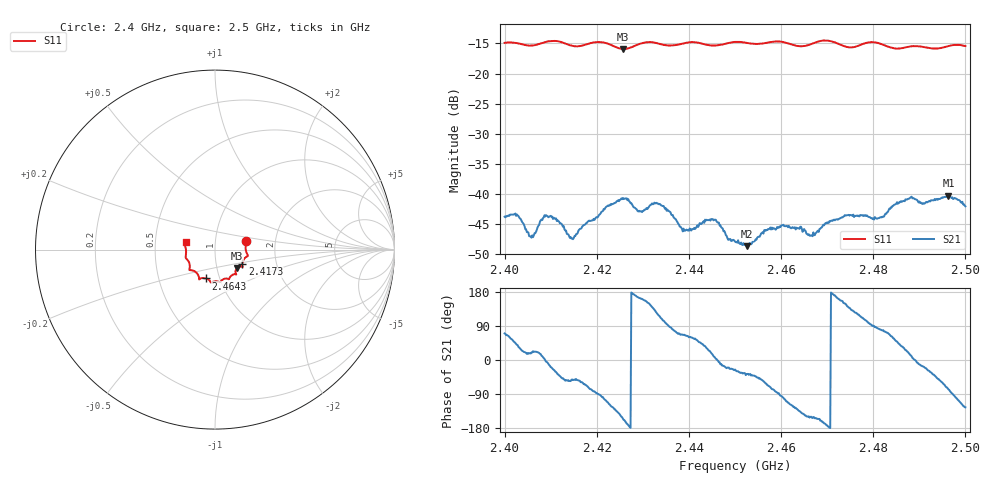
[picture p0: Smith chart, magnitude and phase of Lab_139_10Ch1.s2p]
# Hz S RI R 50
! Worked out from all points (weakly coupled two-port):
!   601 points, 2.4 GHz to 2.5 GHz, reference 50 ohm
!   highest |S21| = -40.33 dB at 2.4963 GHz (marker M1); lowest = -48.7 dB at 2.4527 GHz (marker M2)
!   lowest |S11| = -15.9 dB at 2.4257 GHz (marker M3), VSWR 1.38, Z = 62.5 - j13.2 ohm
!   |S11| at or under -10 dB: start of sweep to end of sweep
!   S12 and S22 are empty: the file has one direction only
!   S11 on the Smith chart (normalised r, x): 2.4 GHz: 1.41, +0.14; 2.4173 GHz: 1.34, -0.23; 2.4643 GHz: 0.86, -0.29; 2.5 GHz: 0.72, +0.06
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2.4e9  0.1733 0.0486  0.00219 0.00606  0 0  0 0
2.402667e9  0.1754 0.0368  0.00514 0.00433  0 0  0 0
2.405833e9  0.1706 0.00373  0.00406 0.00147  0 0  0 0
2.408833e9  0.1807 -0.0278  0.00647 -9.58e-05  0 0  0 0
2.4145e9  0.1628 -0.0508  0.0026 -0.00336  0 0  0 0
2.416667e9  0.1529 -0.0744  0.00269 -0.00439  0 0  0 0
2.417333e9  0.152 -0.0819  0.00246 -0.00493  0 0  0 0
2.425667e9  0.1228 -0.1026  -0.00835 -0.00393  0 0  0 0
2.429333e9  0.1156 -0.1334  -0.00681 0.00206  0 0  0 0
2.433333e9  0.1129 -0.1372  -0.00401 0.00724  0 0  0 0
2.438833e9  0.0806 -0.1589  0.00208 0.00469  0 0  0 0
2.445333e9  0.0527 -0.1626  0.00592 0.00106  0 0  0 0
2.45e9  0.0288 -0.181  0.00363 -0.00171  0 0  0 0
2.452667e9  0.0192 -0.1783  0.00294 -0.00219  0 0  0 0
2.4575e9  -0.0167 -0.1813  0.00176 -0.00481  0 0  0 0
2.464333e9  -0.0499 -0.1608  -0.00397 -0.00353  0 0  0 0
2.466667e9  -0.076 -0.1593  -0.00398 -0.00213  0 0  0 0
2.474167e9  -0.0986 -0.1342  -0.00545 0.00374  0 0  0 0
2.483333e9  -0.1405 -0.0898  0.00257 0.00682  0 0  0 0
2.488e9  -0.1602 -0.0503  0.00899 0.00221  0 0  0 0
2.496333e9  -0.1678 0.0224  0.00207 -0.0094  0 0  0 0
2.5e9  -0.1638 0.0425  -0.0045 -0.00645  0 0  0 0
